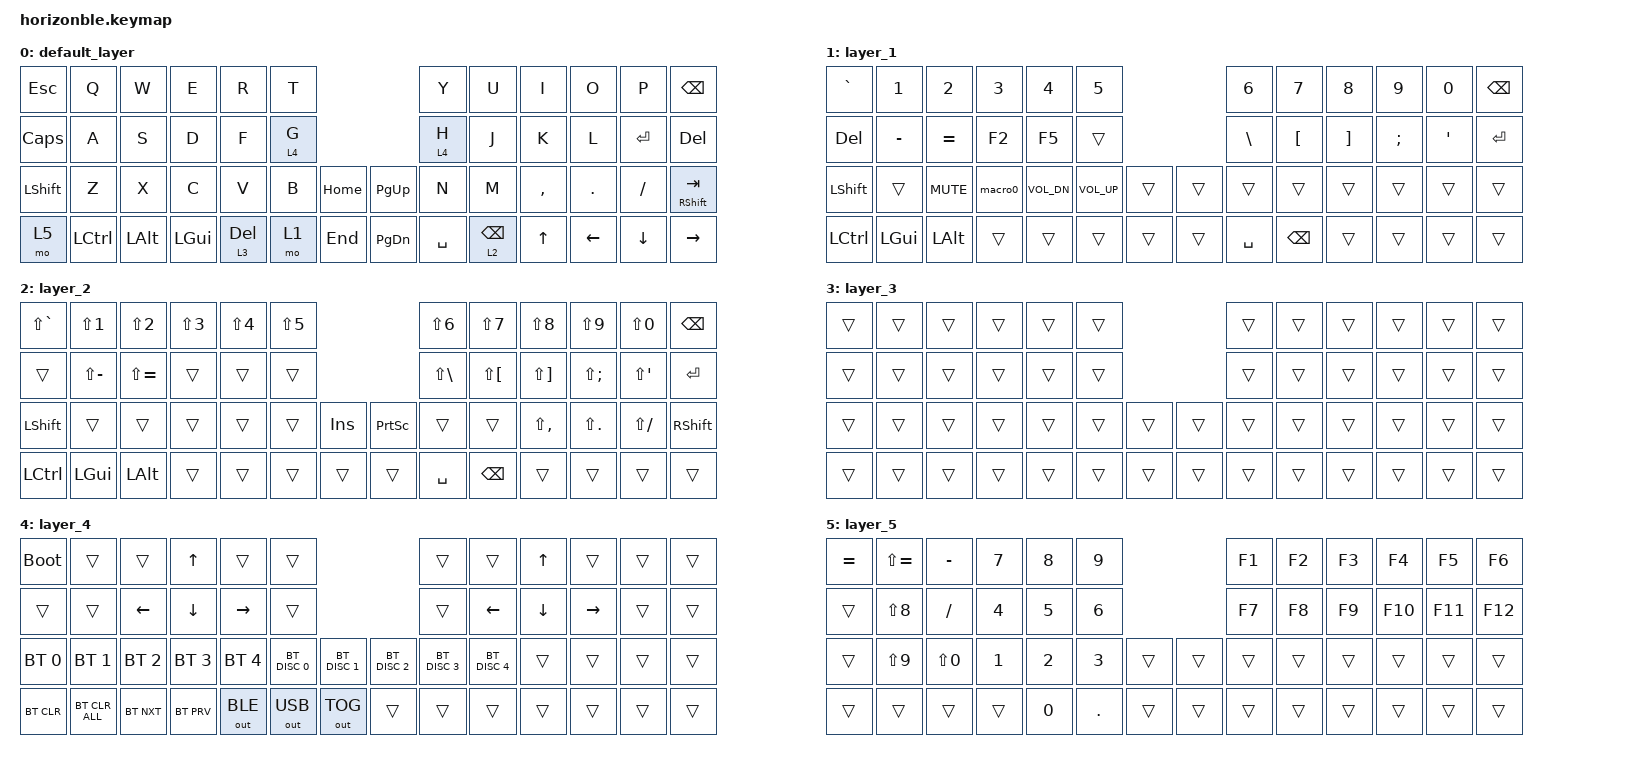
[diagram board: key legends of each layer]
/*
 * Copyright (c) 2021 The ZMK Contributors
 *
 * SPDX-License-Identifier: MIT
 */

#include <behaviors.dtsi>
#include <dt-bindings/zmk/bt.h>
#include <dt-bindings/zmk/keys.h>
#include <dt-bindings/zmk/outputs.h>

&lt {
    flavor = "tap-preferred";
    tapping-term-ms = <100>;
};

/ {
    combos {
        compatible = "zmk,combos";

        combo_bksp {
            bindings = <&kp BACKSPACE>;
            key-positions = <4 5>;
            layers = <0>;
        };

        combo_ent {
            bindings = <&kp ENTER>;
            key-positions = <16 17>;
            layers = <0>;
        };

        combo_del {
            bindings = <&kp DEL>;
            key-positions = <28 29>;
            layers = <0>;
        };

        combo_altenter {
            bindings = <&kp LC(ENTER)>;
            key-positions = <29 43>;
        };

        combo_tg1 {
            bindings = <&tog 0>;
            key-positions = <47 48>;
        };
    };

    macros {
        macro0: macro0 {
            compatible = "zmk,behavior-macro";
            #binding-cells = <0>;
            bindings = <&kp N2 &kp N0 &kp N0 &kp N6 &kp N8 &kp N8 &kp ENTER>;
            label = "MACRO0";
        };
    };

    behaviors {
        auto_shift: auto_shift {
            compatible = "zmk,behavior-hold-tap";
            label = "AUTO_SHIFT";
            bindings = <&kp>, <&kp>;

            #binding-cells = <2>;
            tapping-term-ms = <175>;
            quick-tap-ms = <0>;
            flavor = "tap-preferred";
        };
    };

    keymap {
        compatible = "zmk,keymap";

        default_layer {
            bindings = <
&kp ESC     &kp Q      &kp W     &kp E     &kp R         &kp T                           &kp Y      &kp U            &kp I         &kp O     &kp P      &kp BSPC
&kp CAPS    &kp A      &kp S     &kp D     &kp F         &lt 4 G                         &lt 4 H    &kp J            &kp K         &kp L     &kp ENTER  &kp DELETE
&kp LSHIFT  &kp Z      &kp X     &kp C     &kp V         &kp B    &kp HOME  &kp PAGE_UP  &kp N      &kp M            &kp COMMA     &kp DOT   &kp FSLH   &mt RIGHT_SHIFT TAB
&mo 5       &kp LCTRL  &kp LALT  &kp LGUI  &lt 3 DELETE  &mo 1    &kp END   &kp PG_DN    &kp SPACE  &lt 2 BACKSPACE  &kp UP_ARROW  &kp LEFT  &kp DOWN   &kp RIGHT
            >;
        };

        layer_1 {
            bindings = <
&kp GRAVE   &kp N1     &kp N2      &kp N3   &kp N4        &kp N5                        &kp N6     &kp N7    &kp N8    &kp N9    &kp N0    &kp BSPC
&kp DELETE  &kp MINUS  &kp EQUAL   &kp F2   &kp F5        &trans                        &kp BSLH   &kp LBKT  &kp RBKT  &kp SEMI  &kp APOS  &kp ENTER
&kp LSHFT   &trans     &kp C_MUTE  &macro0  &kp C_VOL_DN  &kp C_VOL_UP  &trans  &trans  &trans     &trans    &trans    &trans    &trans    &trans
&kp LCTRL   &kp LGUI   &kp LALT    &trans   &trans        &trans        &trans  &trans  &kp SPACE  &kp BSPC  &trans    &trans    &trans    &trans
            >;
        };

        layer_2 {
            bindings = <
&kp LS(GRAVE)  &kp LS(N1)     &kp LS(N2)     &kp LS(N3)  &kp LS(N4)  &kp LS(N5)                               &kp LS(N6)    &kp LS(N7)    &kp LS(N8)     &kp LS(N9)    &kp LS(N0)    &kp BSPC
&trans         &kp LS(MINUS)  &kp LS(EQUAL)  &trans      &trans      &trans                                   &kp LS(BSLH)  &kp LS(LBKT)  &kp LS(RBKT)   &kp LS(SEMI)  &kp LS(APOS)  &kp ENTER
&kp LSHFT      &trans         &trans         &trans      &trans      &trans      &kp INSERT  &kp PRINTSCREEN  &trans        &trans        &kp LS(COMMA)  &kp LS(DOT)   &kp LS(FSLH)  &kp RSHFT
&kp LCTRL      &kp LGUI       &kp LALT       &trans      &trans      &trans      &trans      &trans           &kp SPACE     &kp BSPC      &trans         &trans        &trans        &trans
            >;
        };

        layer_3 {
            bindings = <
&trans  &trans  &trans  &trans  &trans  &trans                  &trans  &trans  &trans  &trans  &trans  &trans
&trans  &trans  &trans  &trans  &trans  &trans                  &trans  &trans  &trans  &trans  &trans  &trans
&trans  &trans  &trans  &trans  &trans  &trans  &trans  &trans  &trans  &trans  &trans  &trans  &trans  &trans
&trans  &trans  &trans  &trans  &trans  &trans  &trans  &trans  &trans  &trans  &trans  &trans  &trans  &trans
            >;
        };

        layer_4 {
            bindings = <
&bootloader   &trans          &trans        &kp UP_ARROW  &trans        &trans                                       &trans         &trans         &kp UP_ARROW  &trans     &trans  &trans
&trans        &trans          &kp LEFT      &kp DOWN      &kp RIGHT     &trans                                       &trans         &kp LEFT       &kp DOWN      &kp RIGHT  &trans  &trans
&bt BT_SEL 0  &bt BT_SEL 1    &bt BT_SEL 2  &bt BT_SEL 3  &bt BT_SEL 4  &bt BT_DISC 0  &bt BT_DISC 1  &bt BT_DISC 2  &bt BT_DISC 3  &bt BT_DISC 4  &trans        &trans     &trans  &trans
&bt BT_CLR    &bt BT_CLR_ALL  &bt BT_NXT    &bt BT_PRV    &out OUT_BLE  &out OUT_USB   &out OUT_TOG   &trans         &trans         &trans         &trans        &trans     &trans  &trans
            >;
        };

        layer_5 {
            bindings = <
&kp EQUAL  &kp LS(EQUAL)  &kp MINUS   &kp N7  &kp N8  &kp N9                   &kp F1  &kp F2  &kp F3  &kp F4   &kp F5   &kp F6
&trans     &kp LS(N8)     &kp FSLH    &kp N4  &kp N5  &kp N6                   &kp F7  &kp F8  &kp F9  &kp F10  &kp F11  &kp F12
&trans     &kp LS(N9)     &kp LS(N0)  &kp N1  &kp N2  &kp N3   &trans  &trans  &trans  &trans  &trans  &trans   &trans   &trans
&trans     &trans         &trans      &trans  &kp N0  &kp DOT  &trans  &trans  &trans  &trans  &trans  &trans   &trans   &trans
            >;
        };
    };
};
